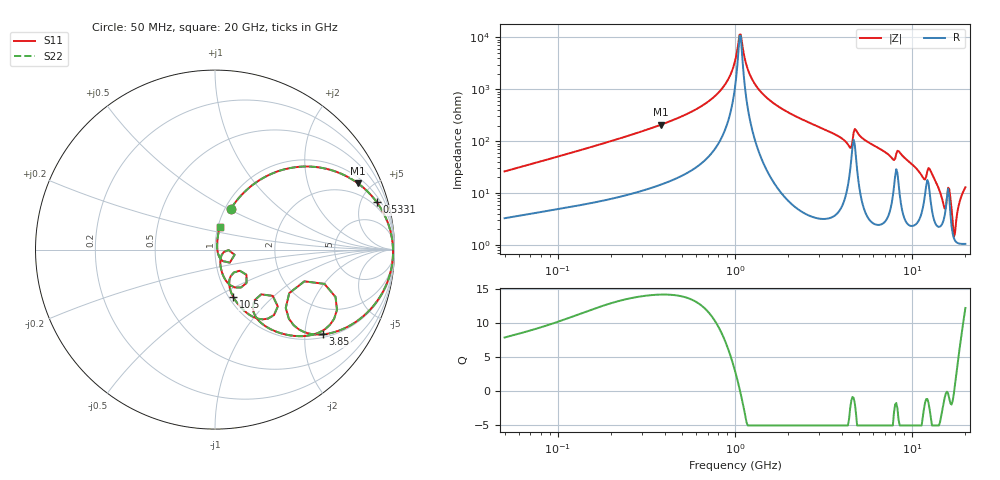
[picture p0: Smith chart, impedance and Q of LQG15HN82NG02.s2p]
!Murata Part Number: LQG15HN82NG02
!These Parameters are Measured in Series Mode Connection
!  o--[Z]--o
!Port1  Port2
!  o-------o
!Freq. Start=50[MHz] Stop=20[GHz], 401[Steps]
# Hz S RI R 50
!Freq.(Hz) S11(Real) S11(Imag) S21(Real) S21(Imag) S12(Real) S12(Imag) S22(Real) S22(Imag)
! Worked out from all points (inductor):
!   401 points, 50 MHz to 20 GHz, reference 50 ohm
!   read as one part in series: L = 81.1 nH near 51.52 MHz
!   highest Q = 14.2 at 383.4 MHz (marker M1), where L = 86.4 nH
!   self-resonance near 1.062 GHz
!   S11 on the Smith chart (normalised r, x): 50 MHz: 1.07, +0.52; 533.1 MHz: 1.48, +6.63; 3.85 GHz: 1.09, -2.47; 10.5 GHz: 1.05, -0.61; 20 GHz: 1.02, +0.26
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5e7  0.0891 0.2287  0.9109 -0.2287  0.9109 -0.2287  0.0891 0.2287
1.364002e8  0.3319 0.4295  0.6681 -0.4295  0.6681 -0.4295  0.3319 0.4295
3.721004e8  0.7856 0.3768  0.2144 -0.3768  0.2144 -0.3768  0.7856 0.3768
3.834161e8  0.7969 0.3687  0.2031 -0.3687  0.2031 -0.3687  0.7969 0.3687
5.330693e8  0.9009 0.2647  0.0991 -0.2647  0.0991 -0.2647  0.9009 0.2647
8.230629e8  0.9774 0.1034  0.0226 -0.1034  0.0226 -0.1034  0.9774 0.1034
1e9  0.9903 0.0268  0.00967 -0.0268  0.00967 -0.0268  0.9903 0.0268
1.077769e9  0.9919 -0.00309  0.00813 0.00309  0.00813 0.00309  0.9919 -0.00309
1.196911e9  0.9908 -0.0453  0.00924 0.0453  0.00924 0.0453  0.9908 -0.0453
1.390315e9  0.9823 -0.1064  0.0177 0.1064  0.0177 0.1064  0.9823 -0.1064
2.728004e9  0.8174 -0.3783  0.1826 0.3783  0.1826 0.3783  0.8174 -0.3783
3.850025e9  0.6013 -0.4723  0.3987 0.4723  0.3987 0.4723  0.6013 -0.4723
4.608136e9  0.4979 -0.1768  0.5021 0.1768  0.5021 0.1768  0.4979 -0.1768
5.352748e9  0.5355 -0.4763  0.4645 0.4763  0.4645 0.4763  0.5355 -0.4763
7.442007e9  0.237 -0.3881  0.763 0.3881  0.763 0.3881  0.237 -0.3881
1.050288e10  0.1026 -0.265  0.8974 0.265  0.8974 0.265  0.1026 -0.265
1.166392e10  0.087 -0.1489  0.913 0.1489  0.913 0.1489  0.087 -0.1489
1.276073e10  0.1119 -0.2114  0.8881 0.2114  0.8881 0.2114  0.1119 -0.2114
1.504638e10  0.0312 -0.0494  0.9688 0.0494  0.9688 0.0494  0.0312 -0.0494
1.621653e10  0.0823 -0.0725  0.9177 0.0725  0.9177 0.0725  0.0823 -0.0725
1.747767e10  0.0121 0.0118  0.9879 -0.0118  0.9879 -0.0118  0.0121 0.0118
2e10  0.0261 0.1238  0.9739 -0.1238  0.9739 -0.1238  0.0261 0.1238
